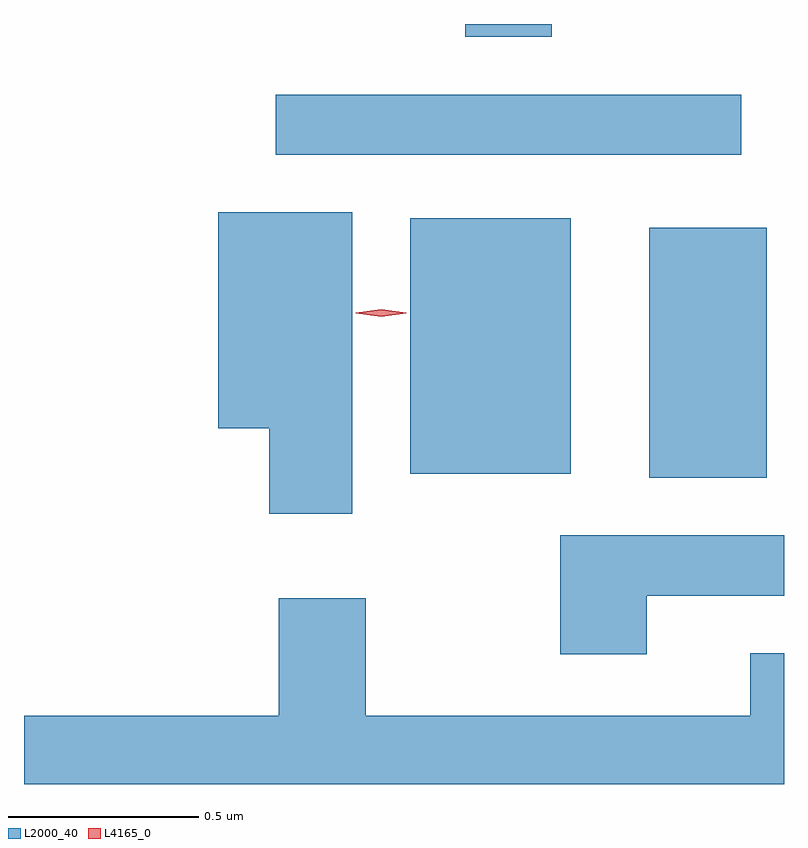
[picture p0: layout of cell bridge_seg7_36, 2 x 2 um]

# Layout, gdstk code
import gdstk
lib = gdstk.Library(unit=1e-6, precision=1e-09)
def R(c, l, rs):  # rectangles x0, y0, x1, y1
    for r in rs: c.add(gdstk.rectangle(r[:2], r[2:], *l))
def P(c, l, *ps):  # polygons
    for p in ps: c.add(gdstk.Polygon(p, *l))
L2000_40 = (2000, 40)
L4165_0 = (4165, 0)

bridge_seg7_36 = lib.new_cell('bridge_seg7_36')
R(bridge_seg7_36, L2000_40, [(1779.176,1768.491,1779.484,1769.149), (1778.546,1768.501,1778.969,1769.174), (1778.193,1769.341,1779.418,1769.499), (1778.691,1769.651,1778.919,1769.685)])
P(bridge_seg7_36, L2000_40, [(1778.394,1769.189),(1778.041,1769.189),(1778.041,1768.621),(1778.176,1768.621),(1778.176,1768.396),(1778.394,1768.396)],
  [(1779.169,1768.181),(1779.53,1768.181),(1779.53,1768.339),(1778.941,1768.339),(1778.941,1768.026),(1779.169,1768.026)],
  [(1779.53,1768.029),(1779.441,1768.029),(1779.441,1767.864),(1778.429,1767.864),(1778.429,1768.174),(1778.201,1768.174),(1778.201,1767.864),(1777.53,1767.864),(1777.53,1767.685),(1779.53,1767.685)])
P(bridge_seg7_36, L4165_0, [(1778.47,1768.915),(1778.403,1768.924),(1778.403,1768.925),(1778.403,1768.925),(1778.47,1768.935),(1778.536,1768.925),(1778.536,1768.925),(1778.536,1768.924)])

lib.write_gds('bridge_seg7_36.gds')
